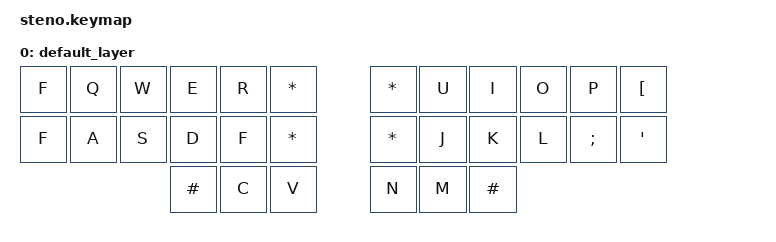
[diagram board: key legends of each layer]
#include <behaviors.dtsi>
#include <dt-bindings/zmk/keys.h>

/ {
    keymap {
        compatible = "zmk,keymap";

        default_layer { 
            bindings = <
                &kp F   &kp Q   &kp W   &kp E       &kp R   &kp ASTRK   &kp ASTRK   &kp U   &kp I   &kp O   &kp P       &kp LBKT
                &kp F   &kp A   &kp S   &kp D       &kp F   &kp ASTRK   &kp ASTRK   &kp J   &kp K   &kp L   &kp SEMI    &kp APOS
                                        &kp HASH    &kp C   &kp V       &kp N       &kp M   &kp HASH
            >;
        };
    };
};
